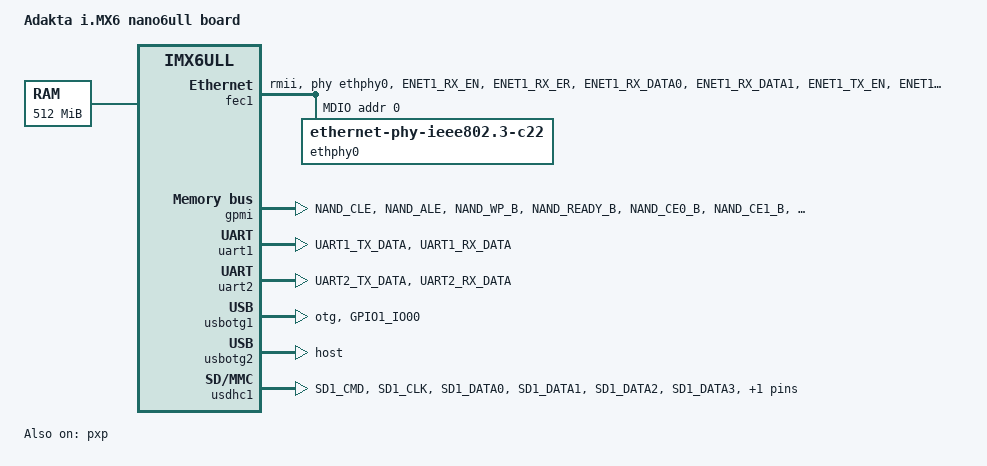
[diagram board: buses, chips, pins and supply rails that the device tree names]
/*
 * Copyright (C) 2016 Freescale Semiconductor, Inc.
 *
 * This program is free software; you can redistribute it and/or modify
 * it under the terms of the GNU General Public License version 2 as
 * published by the Free Software Foundation.
 */

/dts-v1/;

#include <dt-bindings/input/input.h>
#include "imx6ull.dtsi"

/ {
	model = "Adakta i.MX6 nano6ull board";
	compatible = "fsl,adakta_6ull", "fsl,imx6ull";

	chosen {
		stdout-path = &uart1;
	};

	memory {
		reg = <0x80000000 0x20000000>;
	};

	pxp_v4l2 {
		compatible = "fsl,imx6ul-pxp-v4l2", "fsl,imx6sx-pxp-v4l2", "fsl,imx6sl-pxp-v4l2";
		status = "okay";
	};
};

&cpu0 {
	arm-supply = <&reg_arm>;
	soc-supply = <&reg_soc>;
};

&clks {
	assigned-clocks = <&clks IMX6UL_CLK_PLL4_AUDIO_DIV>;
	assigned-clock-rates = <786432000>;
};

&fec1 {
	pinctrl-names = "default";
	pinctrl-0 = <&pinctrl_enet1>;
	phy-mode = "rmii";
	phy-handle = <&ethphy0>;
	status = "okay";
	mdio {
		#address-cells = <1>;
		#size-cells = <0>;

		ethphy0: ethernet-phy@0 {
			compatible = "ethernet-phy-ieee802.3-c22";
			reg = <0>;
		};

	};
};

&gpc {
	fsl,cpu_pupscr_sw2iso = <0x1>;
	fsl,cpu_pupscr_sw = <0x0>;
	fsl,cpu_pdnscr_iso2sw = <0x1>;
	fsl,cpu_pdnscr_iso = <0x1>;
	fsl,ldo-bypass = <0>; /* DCDC, ldo-enable */
};

&gpmi {
	pinctrl-names = "default";
	pinctrl-0 = <&pinctrl_gpmi_nand_1>;
	status = "okay";
	nand-on-flash-bbt;
	fsl,legacy-bch-geometry;
};

&iomuxc {
	pinctrl-names = "default";
	pinctrl-0 = <&pinctrl_hog_1>;
	imx6ul-evk {
		pinctrl_hog_1: hoggrp-1 {
			fsl,pins = <
				MX6UL_PAD_UART1_RTS_B__GPIO1_IO19	0x17059 /* SD1 CD */
				MX6UL_PAD_UART2_CTS_B__GPIO1_IO22	0x17059
				MX6UL_PAD_UART2_RTS_B__GPIO1_IO23	0x17059
				MX6UL_PAD_UART4_RX_DATA__GPIO1_IO29 0x17059
				MX6UL_PAD_UART4_TX_DATA__GPIO1_IO28 0x17059
				MX6UL_PAD_UART5_RX_DATA__GPIO1_IO31 0x17059
				MX6UL_PAD_UART5_TX_DATA__GPIO1_IO30 0x17059
				
				MX6UL_PAD_JTAG_TDI__GPIO1_IO13 0x17059
				MX6UL_PAD_JTAG_TMS__GPIO1_IO11 0x17059
				MX6UL_PAD_JTAG_TDO__GPIO1_IO12 0x17059
				MX6UL_PAD_JTAG_TCK__GPIO1_IO14 0x17059
				MX6UL_PAD_JTAG_TRST_B__GPIO1_IO15 0x17059
			>;
		};

		pinctrl_gpmi_nand_1: gpmi-nand-1 {
			fsl,pins = <
				MX6UL_PAD_NAND_CLE__RAWNAND_CLE         0xb0b1
				MX6UL_PAD_NAND_ALE__RAWNAND_ALE         0xb0b1
				MX6UL_PAD_NAND_WP_B__RAWNAND_WP_B       0xb0b1
				MX6UL_PAD_NAND_READY_B__RAWNAND_READY_B 0xb000
				MX6UL_PAD_NAND_CE0_B__RAWNAND_CE0_B     0xb0b1
				MX6UL_PAD_NAND_CE1_B__RAWNAND_CE1_B     0xb0b1
				MX6UL_PAD_NAND_RE_B__RAWNAND_RE_B       0xb0b1
				MX6UL_PAD_NAND_WE_B__RAWNAND_WE_B       0xb0b1
				MX6UL_PAD_NAND_DATA00__RAWNAND_DATA00   0xb0b1
				MX6UL_PAD_NAND_DATA01__RAWNAND_DATA01   0xb0b1
				MX6UL_PAD_NAND_DATA02__RAWNAND_DATA02   0xb0b1
				MX6UL_PAD_NAND_DATA03__RAWNAND_DATA03   0xb0b1
				MX6UL_PAD_NAND_DATA04__RAWNAND_DATA04   0xb0b1
				MX6UL_PAD_NAND_DATA05__RAWNAND_DATA05   0xb0b1
				MX6UL_PAD_NAND_DATA06__RAWNAND_DATA06   0xb0b1
				MX6UL_PAD_NAND_DATA07__RAWNAND_DATA07   0xb0b1
			>;
		};
		
		pinctrl_usb_otg1_id: usbotg1idgrp {
			fsl,pins = <
				MX6UL_PAD_GPIO1_IO00__ANATOP_OTG1_ID	0x17059
			>;
		};
		
		pinctrl_enet1: enet1grp {
			fsl,pins = <
				MX6UL_PAD_ENET1_RX_EN__ENET1_RX_EN	0x1b0b0
				MX6UL_PAD_ENET1_RX_ER__ENET1_RX_ER	0x1b0b0
				MX6UL_PAD_ENET1_RX_DATA0__ENET1_RDATA00	0x1b0b0
				MX6UL_PAD_ENET1_RX_DATA1__ENET1_RDATA01	0x1b0b0
				MX6UL_PAD_ENET1_TX_EN__ENET1_TX_EN	0x1b0b0
				MX6UL_PAD_ENET1_TX_DATA0__ENET1_TDATA00	0x1b0b0
				MX6UL_PAD_ENET1_TX_DATA1__ENET1_TDATA01	0x1b0b0
				MX6UL_PAD_ENET1_TX_CLK__ENET1_REF_CLK1	0x4001b031
			>;
		};

		pinctrl_uart1: uart1grp {
			fsl,pins = <
				MX6UL_PAD_UART1_TX_DATA__UART1_DCE_TX 0x1b0b1
				MX6UL_PAD_UART1_RX_DATA__UART1_DCE_RX 0x1b0b1
			>;
		};

		pinctrl_uart2: uart2grp {
			fsl,pins = <
				MX6UL_PAD_UART2_TX_DATA__UART2_DCE_TX	0x1b0b1
				MX6UL_PAD_UART2_RX_DATA__UART2_DCE_RX	0x1b0b1
			>;
		};

		pinctrl_usdhc1: usdhc1grp {
			fsl,pins = <
				MX6UL_PAD_SD1_CMD__USDHC1_CMD     0x17059
				MX6UL_PAD_SD1_CLK__USDHC1_CLK     0x10071
				MX6UL_PAD_SD1_DATA0__USDHC1_DATA0 0x17059
				MX6UL_PAD_SD1_DATA1__USDHC1_DATA1 0x17059
				MX6UL_PAD_SD1_DATA2__USDHC1_DATA2 0x17059
				MX6UL_PAD_SD1_DATA3__USDHC1_DATA3 0x17059
			>;
		};

		pinctrl_usdhc1_100mhz: usdhc1grp100mhz {
			fsl,pins = <
				MX6UL_PAD_SD1_CMD__USDHC1_CMD     0x170b9
				MX6UL_PAD_SD1_CLK__USDHC1_CLK     0x100b9
				MX6UL_PAD_SD1_DATA0__USDHC1_DATA0 0x170b9
				MX6UL_PAD_SD1_DATA1__USDHC1_DATA1 0x170b9
				MX6UL_PAD_SD1_DATA2__USDHC1_DATA2 0x170b9
				MX6UL_PAD_SD1_DATA3__USDHC1_DATA3 0x170b9
			>;
		};

		pinctrl_usdhc1_200mhz: usdhc1grp200mhz {
			fsl,pins = <
				MX6UL_PAD_SD1_CMD__USDHC1_CMD     0x170f9
				MX6UL_PAD_SD1_CLK__USDHC1_CLK     0x100f9
				MX6UL_PAD_SD1_DATA0__USDHC1_DATA0 0x170f9
				MX6UL_PAD_SD1_DATA1__USDHC1_DATA1 0x170f9
				MX6UL_PAD_SD1_DATA2__USDHC1_DATA2 0x170f9
				MX6UL_PAD_SD1_DATA3__USDHC1_DATA3 0x170f9
			>;
		};

	};
};

&iomuxc_snvs {
	pinctrl-names = "default_snvs";
        
};


&pxp {
	status = "okay";
};


&uart1 {
	pinctrl-names = "default";
	pinctrl-0 = <&pinctrl_uart1>;
	status = "okay";
};

&uart2 {
	pinctrl-names = "default";
	pinctrl-0 = <&pinctrl_uart2>;
	status = "okay";
};

&usbotg1 {
	dr_mode = "otg";
	srp-disable;
	hnp-disable;
	adp-disable;
	pinctrl-0 = <&pinctrl_usb_otg1_id>;
	disable-over-current;
	status = "okay";
};

&usbotg2 {
	dr_mode = "host";
	disable-over-current;
	status = "okay";
};

&usbphy1 {
	tx-d-cal = <0x5>;
};

&usbphy2 {
	tx-d-cal = <0x5>;
};

&usdhc1 {
	pinctrl-names = "default";
	pinctrl-0 = <&pinctrl_usdhc1>;
	cd-gpios = <&gpio1 19 GPIO_ACTIVE_LOW>;
	keep-power-in-suspend;
	enable-sdio-wakeup;
	status = "okay";
};

